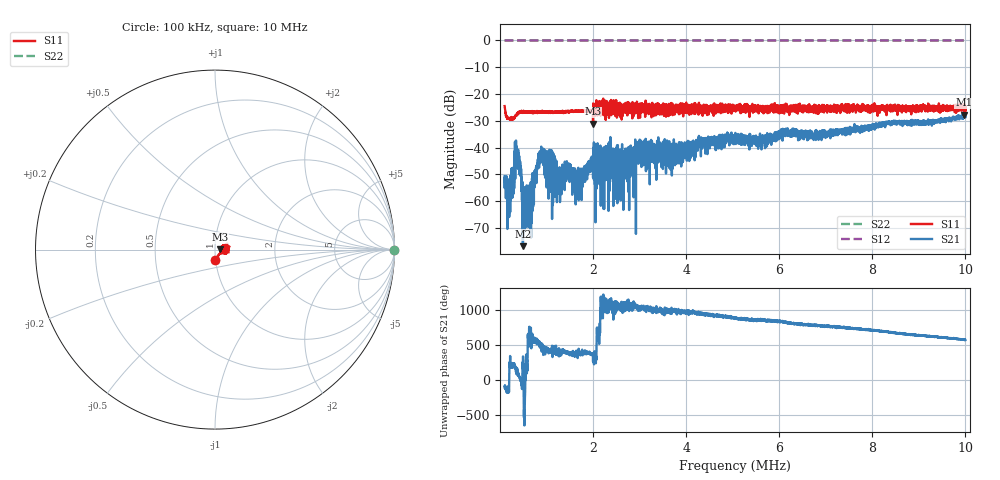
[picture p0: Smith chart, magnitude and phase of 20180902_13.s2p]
! Anritsu VNA Master:  Model: MS2026C/19
! SN:  1815009
! /card0/usr/20180902_13.s2p
! Existing Calibration Information:
! TYPE:  Current Settings,  Active Cal Settings
! TIME:  09/02/2018 12:47:11 PM,  09/02/2018 11:58:48 AM
! INTERNAL TEMP:  53.5 C,  48.8 C
! # POINTS:  4001,  4001
! START FREQ:  100.000 kHz,  100.000 kHz
! STOP FREQ:  10.000 MHz,  10.000 MHz
! SOURCE POWER:  Low,  Low
! IFBW:  500 Hz,  500 Hz
! AVG FACTOR:  1 ,  1
! REF PLANE 1:  0 mm,  0 mm
! REF PLANE 2:  0 mm,  0 mm
! CAL TYPE:  1P2P S11,S21,  1P2P S11,S21
! CAL METHOD:  SOLT,  SOLT
! CAL LINE TYPE:  Coax,  Coax
! DUT PORT 1:  N-Conn(M),  N-Conn(M)
! DUT PORT 2:  N-Conn(M),  N-Conn(M)
! CAL STATUS:  OK: Accuracy High,  --
# GHZ S RI R 50.0
! FREQ.GHZ  S11RE  S11IM  S21RE  S21IM  S12RE  S12IM  S22RE  S22IM
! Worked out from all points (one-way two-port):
!   4001 points, 100 kHz to 10 MHz, reference 50 ohm
!   highest |S21| = -27.73 dB at 9.965 MHz (marker M1); lowest = -76.8 dB at 493.5 kHz (marker M2)
!   lowest |S11| = -31.1 dB at 2.001 MHz (marker M3), VSWR 1.06, Z = 52.9 + j0.067 ohm
!   |S11| at or under -10 dB: start of sweep to end of sweep
!   |S22| runs from 0.0 to 0.0 dB; largest |S21 - S12| = 1
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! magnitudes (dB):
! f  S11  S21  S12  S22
! 100 kHz  -24.5  -50.7  0.0  0.0
! 206.4 kHz  -29.1  -56.6  0.0  0.0
! 382.1 kHz  -27.1  -41.4  0.0  0.0
! 429.2 kHz  -26.7  -48.0  0.0  0.0
! 493.5 kHz  -26.5  -76.8  0.0  0.0
! 637.1 kHz  -26.9  -60.8  0.0  0.0
! 807.9 kHz  -27.0  -46.7  0.0  0.0
! 897 kHz  -26.8  -42.7  0.0  0.0
! 1.286 MHz  -26.6  -49.6  0.0  0.0
! 1.441 MHz  -26.4  -46.7  0.0  0.0
! 1.751 MHz  -26.2  -53.8  0.0  0.0
! 2.001 MHz  -31.1  -51.2  0.0  0.0
! 2.214 MHz  -24.6  -53.0  0.0  0.0
! 2.278 MHz  -24.9  -48.5  0.0  0.0
! 2.639 MHz  -28.1  -47.6  0.0  0.0
! 2.986 MHz  -24.8  -37.8  0.0  0.0
! 3.402 MHz  -26.1  -36.1  0.0  0.0
! 5.05 MHz  -25.3  -35.1  0.0  0.0
! 6.701 MHz  -26.6  -35.8  0.0  0.0
! 8.352 MHz  -25.6  -30.6  0.0  0.0
! 9.965 MHz  -25.0  -27.7  0.0  0.0
! 10 MHz  -24.7  -28.6  0.0  0.0
